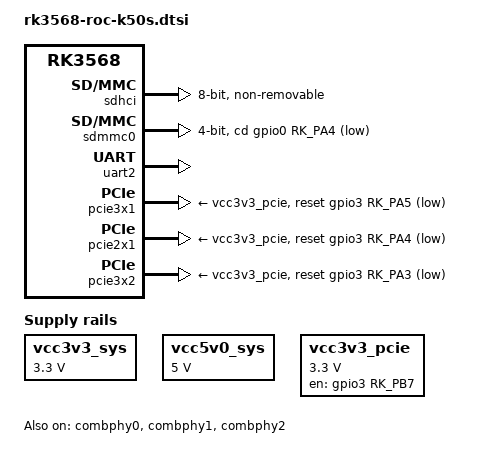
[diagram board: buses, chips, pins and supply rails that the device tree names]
// SPDX-License-Identifier: (GPL-2.0+ OR MIT)
/*
 * Copyright (c) 2021 Rockchip Electronics Co., Ltd.
 * Copyright (c) 2024 ROCEOS K50S Team
 */

/dts-v1/;
#include "rk3568.dtsi"
#include <dt-bindings/gpio/gpio.h>
#include <dt-bindings/pinctrl/rockchip.h>

/ {
	aliases {
		ethernet0 = &gmac0;
		ethernet1 = &gmac1;
		mmc0 = &sdhci;
		mmc1 = &sdmmc0;
	};

	chosen {
		bootargs = "earlycon=uart8250,mmio32,0xfe660000 console=ttyFIQ0 root=PARTUUID=614e0000-02 rootwait rw rootfstype=ext4";
	};

	vcc3v3_sys: vcc3v3-sys-regulator {
		compatible = "regulator-fixed";
		regulator-name = "vcc3v3_sys";
		regulator-always-on;
		regulator-boot-on;
		regulator-min-microvolt = <3300000>;
		regulator-max-microvolt = <3300000>;
	};

	vcc5v0_sys: vcc5v0-sys-regulator {
		compatible = "regulator-fixed";
		regulator-name = "vcc5v0_sys";
		regulator-always-on;
		regulator-boot-on;
		regulator-min-microvolt = <5000000>;
		regulator-max-microvolt = <5000000>;
	};

	vcc3v3_pcie: vcc3v3-pcie-regulator {
		compatible = "regulator-fixed";
		regulator-name = "vcc3v3_pcie";
		regulator-min-microvolt = <3300000>;
		regulator-max-microvolt = <3300000>;
		enable-active-high;
		gpio = <&gpio3 RK_PB7 GPIO_ACTIVE_HIGH>;
		regulator-boot-on;
		regulator-always-on;
	};
};

&combphy0 {
	status = "okay";
};

&combphy1 {
	status = "okay";
};

&combphy2 {
	status = "okay";
};

&sdhci {
	bus-width = <8>;
	max-frequency = <200000000>;
	non-removable;
	pinctrl-names = "default";
	pinctrl-0 = <&emmc_bus8 &emmc_clk &emmc_cmd &emmc_datastrobe>;
	status = "okay";
};

&sdmmc0 {
	bus-width = <4>;
	cap-sd-highspeed;
	cap-mmc-highspeed;
	cd-gpios = <&gpio0 RK_PA4 GPIO_ACTIVE_LOW>;
	disable-wp;
	pinctrl-names = "default";
	pinctrl-0 = <&sdmmc0_bus4 &sdmmc0_clk &sdmmc0_cmd &sdmmc0_det>;
	status = "okay";
};

&uart2 {
	status = "okay";
};

/* ETH0: 板载 2.5G 电口 (RTL8125BG) */
&pcie3x1 {
	reset-gpios = <&gpio3 RK_PA5 GPIO_ACTIVE_LOW>;
	vpcie3v3-supply = <&vcc3v3_pcie>;
	status = "okay";
};

/* ETH1: 板载 2.5G 电口 (RTL8125BG) */
&pcie2x1 {
	reset-gpios = <&gpio3 RK_PA4 GPIO_ACTIVE_LOW>;
	vpcie3v3-supply = <&vcc3v3_pcie>;
	status = "okay";
};

/* ETH2: 板载 2.5G 电口 (RTL8125BG) */
&pcie3x2 {
	reset-gpios = <&gpio3 RK_PA3 GPIO_ACTIVE_LOW>;
	vpcie3v3-supply = <&vcc3v3_pcie>;
	status = "okay";
};
